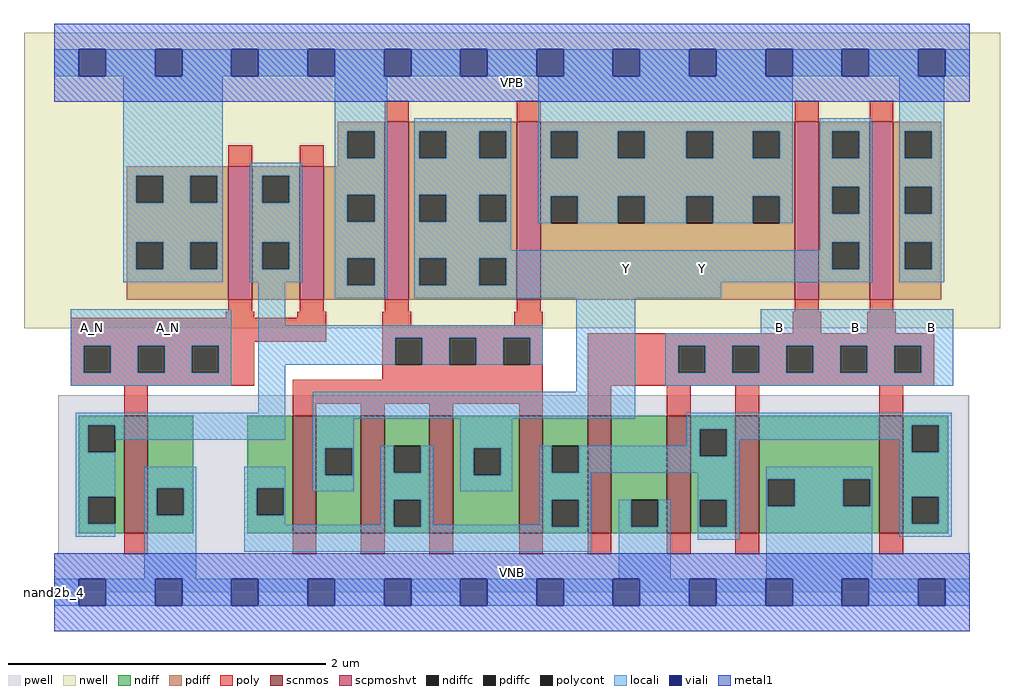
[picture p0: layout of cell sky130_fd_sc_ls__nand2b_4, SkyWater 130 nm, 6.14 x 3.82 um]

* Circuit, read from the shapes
.subckt sky130_fd_sc_ls__nand2b_4 A_N B VGND VNB VPB VPWR Y
XM1 VGND A_N n1 VNB sky130_fd_pr__nfet_01v8 w=0.74 l=0.15
XM2 Y n1 n2 VNB sky130_fd_pr__nfet_01v8 w=0.74 l=0.15 m=4
XM3 VGND B n2 VNB sky130_fd_pr__nfet_01v8 w=0.74 l=0.15 m=4
XM4 n1 A_N VPWR VPB sky130_fd_pr__pfet_01v8_hvt w=0.84 l=0.15 m=2
XM5 Y n1 VPWR VPB sky130_fd_pr__pfet_01v8_hvt w=1.12 l=0.15 m=2
XM6 Y B VPWR VPB sky130_fd_pr__pfet_01v8_hvt w=1.12 l=0.15 m=2
.ends

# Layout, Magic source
magic
tech sky130A
magscale 1 2
<< nwell >>
rect -38 332 1190 704
<< pwell >>
rect 5 49 1151 248
rect 0 0 1152 49
<< scnmos >>
rect 88 74 118 222
rect 300 74 330 222
rect 386 74 416 222
rect 472 74 502 222
rect 585 74 615 222
rect 671 74 701 222
rect 771 74 801 222
rect 857 74 887 222
rect 1038 74 1068 222
<< scpmoshvt >>
rect 219 368 249 536
rect 309 368 339 536
rect 416 368 446 592
rect 582 368 612 592
rect 932 368 962 592
rect 1026 368 1056 592
<< ndiff >>
rect 31 210 88 222
rect 31 176 43 210
rect 77 176 88 210
rect 31 120 88 176
rect 31 86 43 120
rect 77 86 88 120
rect 31 74 88 86
rect 118 131 175 222
rect 118 97 129 131
rect 163 97 175 131
rect 118 74 175 97
rect 243 131 300 222
rect 243 97 255 131
rect 289 97 300 131
rect 243 74 300 97
rect 330 181 386 222
rect 330 147 341 181
rect 375 147 386 181
rect 330 74 386 147
rect 416 184 472 222
rect 416 150 427 184
rect 461 150 472 184
rect 416 116 472 150
rect 416 82 427 116
rect 461 82 472 116
rect 416 74 472 82
rect 502 181 585 222
rect 502 147 528 181
rect 562 147 585 181
rect 502 74 585 147
rect 615 184 671 222
rect 615 150 626 184
rect 660 150 671 184
rect 615 116 671 150
rect 615 82 626 116
rect 660 82 671 116
rect 615 74 671 82
rect 701 116 771 222
rect 701 82 726 116
rect 760 82 771 116
rect 701 74 771 82
rect 801 205 857 222
rect 801 171 812 205
rect 846 171 857 205
rect 801 116 857 171
rect 801 82 812 116
rect 846 82 857 116
rect 801 74 857 82
rect 887 142 1038 222
rect 887 108 898 142
rect 932 108 993 142
rect 1027 108 1038 142
rect 887 74 1038 108
rect 1068 210 1125 222
rect 1068 176 1079 210
rect 1113 176 1125 210
rect 1068 120 1125 176
rect 1068 86 1079 120
rect 1113 86 1125 120
rect 1068 74 1125 86
<< pdiff >>
rect 357 580 416 592
rect 357 546 369 580
rect 403 546 416 580
rect 357 536 416 546
rect 91 524 219 536
rect 91 490 103 524
rect 137 490 171 524
rect 205 490 219 524
rect 91 440 219 490
rect 91 406 103 440
rect 137 406 171 440
rect 205 406 219 440
rect 91 368 219 406
rect 249 524 309 536
rect 249 490 262 524
rect 296 490 309 524
rect 249 440 309 490
rect 249 406 262 440
rect 296 406 309 440
rect 249 368 309 406
rect 339 500 416 536
rect 339 466 369 500
rect 403 466 416 500
rect 339 420 416 466
rect 339 386 369 420
rect 403 386 416 420
rect 339 368 416 386
rect 446 580 582 592
rect 446 546 459 580
rect 493 546 535 580
rect 569 546 582 580
rect 446 500 582 546
rect 446 466 459 500
rect 493 466 535 500
rect 569 466 582 500
rect 446 420 582 466
rect 446 386 459 420
rect 493 386 535 420
rect 569 386 582 420
rect 446 368 582 386
rect 612 580 932 592
rect 612 546 625 580
rect 659 546 709 580
rect 743 546 795 580
rect 829 546 879 580
rect 913 546 932 580
rect 612 498 932 546
rect 612 464 625 498
rect 659 464 709 498
rect 743 464 795 498
rect 829 464 879 498
rect 913 464 932 498
rect 612 368 932 464
rect 962 580 1026 592
rect 962 546 979 580
rect 1013 546 1026 580
rect 962 510 1026 546
rect 962 476 979 510
rect 1013 476 1026 510
rect 962 440 1026 476
rect 962 406 979 440
rect 1013 406 1026 440
rect 962 368 1026 406
rect 1056 580 1116 592
rect 1056 546 1070 580
rect 1104 546 1116 580
rect 1056 510 1116 546
rect 1056 476 1070 510
rect 1104 476 1116 510
rect 1056 440 1116 476
rect 1056 406 1070 440
rect 1104 406 1116 440
rect 1056 368 1116 406
<< ndiffc >>
rect 43 176 77 210
rect 43 86 77 120
rect 129 97 163 131
rect 255 97 289 131
rect 341 147 375 181
rect 427 150 461 184
rect 427 82 461 116
rect 528 147 562 181
rect 626 150 660 184
rect 626 82 660 116
rect 726 82 760 116
rect 812 171 846 205
rect 812 82 846 116
rect 898 108 932 142
rect 993 108 1027 142
rect 1079 176 1113 210
rect 1079 86 1113 120
<< pdiffc >>
rect 369 546 403 580
rect 103 490 137 524
rect 171 490 205 524
rect 103 406 137 440
rect 171 406 205 440
rect 262 490 296 524
rect 262 406 296 440
rect 369 466 403 500
rect 369 386 403 420
rect 459 546 493 580
rect 535 546 569 580
rect 459 466 493 500
rect 535 466 569 500
rect 459 386 493 420
rect 535 386 569 420
rect 625 546 659 580
rect 709 546 743 580
rect 795 546 829 580
rect 879 546 913 580
rect 625 464 659 498
rect 709 464 743 498
rect 795 464 829 498
rect 879 464 913 498
rect 979 546 1013 580
rect 979 476 1013 510
rect 979 406 1013 440
rect 1070 546 1104 580
rect 1070 476 1104 510
rect 1070 406 1104 440
<< poly >>
rect 416 592 446 618
rect 582 592 612 618
rect 932 592 962 618
rect 1026 592 1056 618
rect 219 536 249 562
rect 309 536 339 562
rect 219 353 249 368
rect 309 353 339 368
rect 416 353 446 368
rect 582 353 612 368
rect 932 353 962 368
rect 1026 353 1056 368
rect 216 345 252 353
rect 306 345 342 353
rect 21 315 342 345
rect 413 336 449 353
rect 579 336 615 353
rect 413 320 615 336
rect 929 326 965 353
rect 1023 326 1059 353
rect 21 310 252 315
rect 21 276 37 310
rect 71 276 105 310
rect 139 276 173 310
rect 207 276 252 310
rect 21 260 252 276
rect 413 286 429 320
rect 463 286 497 320
rect 531 286 565 320
rect 599 286 615 320
rect 413 267 615 286
rect 88 222 118 260
rect 300 237 615 267
rect 300 222 330 237
rect 386 222 416 237
rect 472 222 502 237
rect 585 222 615 237
rect 671 310 1107 326
rect 671 276 785 310
rect 819 276 853 310
rect 887 276 921 310
rect 955 276 989 310
rect 1023 276 1057 310
rect 1091 276 1107 310
rect 671 260 1107 276
rect 671 222 701 260
rect 771 222 801 260
rect 857 222 887 260
rect 1038 222 1068 260
rect 88 48 118 74
rect 300 48 330 74
rect 386 48 416 74
rect 472 48 502 74
rect 585 48 615 74
rect 671 48 701 74
rect 771 48 801 74
rect 857 48 887 74
rect 1038 48 1068 74
<< polycont >>
rect 37 276 71 310
rect 105 276 139 310
rect 173 276 207 310
rect 429 286 463 320
rect 497 286 531 320
rect 565 286 599 320
rect 785 276 819 310
rect 853 276 887 310
rect 921 276 955 310
rect 989 276 1023 310
rect 1057 276 1091 310
<< locali >>
rect 0 649 31 683
rect 65 649 127 683
rect 161 649 223 683
rect 257 649 319 683
rect 353 649 415 683
rect 449 649 511 683
rect 545 649 607 683
rect 641 649 703 683
rect 737 649 799 683
rect 833 649 895 683
rect 929 649 991 683
rect 1025 649 1087 683
rect 1121 649 1152 683
rect 87 524 212 649
rect 353 580 419 649
rect 353 546 369 580
rect 403 546 419 580
rect 87 490 103 524
rect 137 490 171 524
rect 205 490 212 524
rect 87 440 212 490
rect 87 406 103 440
rect 137 406 171 440
rect 205 406 212 440
rect 87 390 212 406
rect 246 524 312 540
rect 246 490 262 524
rect 296 490 312 524
rect 246 440 312 490
rect 246 406 262 440
rect 296 406 312 440
rect 246 390 312 406
rect 353 500 419 546
rect 353 466 369 500
rect 403 466 419 500
rect 353 420 419 466
rect 21 310 223 356
rect 21 276 37 310
rect 71 276 105 310
rect 139 276 173 310
rect 207 276 223 310
rect 21 260 223 276
rect 257 336 291 390
rect 353 386 369 420
rect 403 386 419 420
rect 353 370 419 386
rect 453 580 575 596
rect 453 546 459 580
rect 493 546 535 580
rect 569 546 575 580
rect 453 500 575 546
rect 453 466 459 500
rect 493 466 535 500
rect 569 466 575 500
rect 453 430 575 466
rect 609 580 929 649
rect 609 546 625 580
rect 659 546 709 580
rect 743 546 795 580
rect 829 546 879 580
rect 913 546 929 580
rect 609 498 929 546
rect 609 464 625 498
rect 659 464 709 498
rect 743 464 795 498
rect 829 464 879 498
rect 913 464 929 498
rect 963 580 1029 596
rect 963 546 979 580
rect 1013 546 1029 580
rect 963 510 1029 546
rect 963 476 979 510
rect 1013 476 1029 510
rect 963 440 1029 476
rect 963 430 979 440
rect 453 420 979 430
rect 453 386 459 420
rect 493 386 535 420
rect 569 406 979 420
rect 1013 406 1029 440
rect 569 390 1029 406
rect 1063 580 1120 649
rect 1063 546 1070 580
rect 1104 546 1120 580
rect 1063 510 1120 546
rect 1063 476 1070 510
rect 1104 476 1120 510
rect 1063 440 1120 476
rect 1063 406 1070 440
rect 1104 406 1120 440
rect 1063 390 1120 406
rect 569 386 839 390
rect 453 370 839 386
rect 257 320 615 336
rect 257 286 429 320
rect 463 286 497 320
rect 531 286 565 320
rect 599 286 615 320
rect 257 226 291 286
rect 657 252 731 370
rect 889 326 1131 356
rect 769 310 1131 326
rect 769 276 785 310
rect 819 276 853 310
rect 887 276 921 310
rect 955 276 989 310
rect 1023 276 1057 310
rect 1091 276 1131 310
rect 769 260 1131 276
rect 27 210 291 226
rect 27 176 43 210
rect 77 192 291 210
rect 325 218 731 252
rect 27 120 77 176
rect 325 181 377 218
rect 27 86 43 120
rect 27 70 77 86
rect 113 131 179 158
rect 113 97 129 131
rect 163 97 179 131
rect 113 17 179 97
rect 239 131 291 158
rect 239 97 255 131
rect 289 97 291 131
rect 325 147 341 181
rect 375 147 377 181
rect 325 127 377 147
rect 411 150 427 184
rect 461 150 477 184
rect 239 85 291 97
rect 411 116 477 150
rect 511 181 576 218
rect 796 210 1129 226
rect 796 205 1079 210
rect 796 184 812 205
rect 511 147 528 181
rect 562 147 576 181
rect 511 127 576 147
rect 610 150 626 184
rect 660 171 812 184
rect 846 192 1079 205
rect 846 171 862 192
rect 660 150 862 171
rect 1063 176 1079 192
rect 1113 176 1129 210
rect 411 85 427 116
rect 239 82 427 85
rect 461 85 477 116
rect 610 116 676 150
rect 810 116 862 150
rect 610 85 626 116
rect 461 82 626 85
rect 660 82 676 116
rect 239 51 676 82
rect 710 82 726 116
rect 760 82 776 116
rect 710 17 776 82
rect 810 82 812 116
rect 846 82 862 116
rect 810 66 862 82
rect 896 142 1029 158
rect 896 108 898 142
rect 932 108 993 142
rect 1027 108 1029 142
rect 896 17 1029 108
rect 1063 120 1129 176
rect 1063 86 1079 120
rect 1113 86 1129 120
rect 1063 70 1129 86
rect 0 -17 31 17
rect 65 -17 127 17
rect 161 -17 223 17
rect 257 -17 319 17
rect 353 -17 415 17
rect 449 -17 511 17
rect 545 -17 607 17
rect 641 -17 703 17
rect 737 -17 799 17
rect 833 -17 895 17
rect 929 -17 991 17
rect 1025 -17 1087 17
rect 1121 -17 1152 17
<< viali >>
rect 31 649 65 683
rect 127 649 161 683
rect 223 649 257 683
rect 319 649 353 683
rect 415 649 449 683
rect 511 649 545 683
rect 607 649 641 683
rect 703 649 737 683
rect 799 649 833 683
rect 895 649 929 683
rect 991 649 1025 683
rect 1087 649 1121 683
rect 31 -17 65 17
rect 127 -17 161 17
rect 223 -17 257 17
rect 319 -17 353 17
rect 415 -17 449 17
rect 511 -17 545 17
rect 607 -17 641 17
rect 703 -17 737 17
rect 799 -17 833 17
rect 895 -17 929 17
rect 991 -17 1025 17
rect 1087 -17 1121 17
<< metal1 >>
rect 0 683 1152 715
rect 0 649 31 683
rect 65 649 127 683
rect 161 649 223 683
rect 257 649 319 683
rect 353 649 415 683
rect 449 649 511 683
rect 545 649 607 683
rect 641 649 703 683
rect 737 649 799 683
rect 833 649 895 683
rect 929 649 991 683
rect 1025 649 1087 683
rect 1121 649 1152 683
rect 0 617 1152 649
rect 0 17 1152 49
rect 0 -17 31 17
rect 65 -17 127 17
rect 161 -17 223 17
rect 257 -17 319 17
rect 353 -17 415 17
rect 449 -17 511 17
rect 545 -17 607 17
rect 641 -17 703 17
rect 737 -17 799 17
rect 833 -17 895 17
rect 929 -17 991 17
rect 1025 -17 1087 17
rect 1121 -17 1152 17
rect 0 -49 1152 -17
<< labels >>
rlabel comment s 0 0 0 0 4 nand2b_4
flabel pwell s 0 0 1152 49 0 FreeSans 200 0 0 0 VNB
port 4 nsew ground bidirectional
flabel nwell s 0 617 1152 666 0 FreeSans 200 0 0 0 VPB
port 5 nsew power bidirectional
flabel metal1 s 0 617 1152 666 0 FreeSans 340 0 0 0 VPWR
port 6 nsew power bidirectional abutment
flabel metal1 s 0 0 1152 49 0 FreeSans 340 0 0 0 VGND
port 3 nsew ground bidirectional abutment
flabel locali s 31 316 65 350 0 FreeSans 340 0 0 0 A_N
port 1 nsew signal input
flabel locali s 127 316 161 350 0 FreeSans 340 0 0 0 A_N
port 1 nsew signal input
flabel locali s 703 390 737 424 0 FreeSans 340 0 0 0 Y
port 7 nsew signal output
flabel locali s 799 390 833 424 0 FreeSans 340 0 0 0 Y
port 7 nsew signal output
flabel locali s 895 316 929 350 0 FreeSans 340 0 0 0 B
port 2 nsew signal input
flabel locali s 991 316 1025 350 0 FreeSans 340 0 0 0 B
port 2 nsew signal input
flabel locali s 1087 316 1121 350 0 FreeSans 340 0 0 0 B
port 2 nsew signal input
<< properties >>
string LEFsite unit
string LEFclass CORE
string FIXED_BBOX 0 0 1152 666
string GDS_FILE $PDKPATH/libs.ref/sky130_fd_sc_ls/gds/sky130_fd_sc_ls.gds
string LEFsymmetry X Y
string GDS_END 2080548
string GDS_START 2071200
<< end >>
